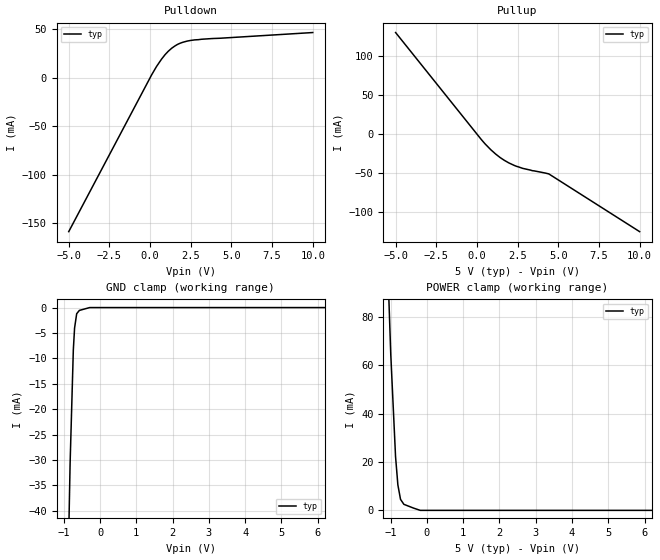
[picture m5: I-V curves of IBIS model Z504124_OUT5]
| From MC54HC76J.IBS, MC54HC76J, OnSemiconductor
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| (C) COPYRIGHT 1993-2000
| MENTOR GRAPHICS CORPORATION
| ICX STANDARD LIBRARY, ICX PROJECT MODELING,
| ICX CUSTOM MODELING, ICX VENDOR MODEL
| ALL RIGHTS RESERVED.
| THE FOLLOWING ARE TRADEMARKS OR SERVICE MARKS OF
| MENTOR GRAPHICS CORPORATION:ICX (R), ICX STANDARD
| LIBRARY(R), ICX PROJECT MODELING(R), ICX CUSTOM
| MODELING(R), qualityIBIS(TM), MODELVIEWER(TM),
| AND MODELEDITOR(TM)
| ALL COPIES OF SOFTWARE, INCLUDING BUT NOT LIMITED TO
| ANY MODIFICATIONS, ENHANCEMENTS OR DERIVATIVE WORKS,
| MUST CONTAIN ALL MENTOR GRAPHICS CORPORATION'S
| NOTICES AND LEGENDS, INCLUDING THOSE EMBEDDED IN
| SOFTWARE AND THOSE AFFIXED TO SOFTWARE MEDIUM
| AND CONTAINER, AS RECEIVED FROM MENTOR GRAPHICS
| CORPORATION.
| Model Application Version 1.89 2/18/99.
[Model] Z504124_OUT5
Model_type Output
Vref=0.000V
Rref=500.0Mohms
Cref=50.00pF
Vmeas=2.500V
C_comp 8.000pF NA NA
| variable typ   min   max
[Voltage Range] 5.000V NA NA
[POWER Clamp Reference] 5.000V NA NA
[Pullup Reference] 5.000V NA NA
[Pulldown Reference] 0.000V NA NA
[GND Clamp Reference] 0.000V NA NA
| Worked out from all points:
|   slope of the pulldown table from 0 to 0.75 V, typ, clamps not added: 37.1 ohm
|   slope of the pullup table from 0 to 0.75 V, typ, clamps not added: 41.9 ohm
|   GND clamp passes 1 mA (typ) near -0.62 V on its own axis
[GND Clamp]
-5V       -1.563A    NA         NA
-825.7mV  -30.71mA   NA         NA
-736.8mV  -8.328mA   NA         NA
-702.6mV  -4.043mA   NA         NA
-644.4mV  -1.208mA   NA         NA
-570.5mV  -560.8uA   NA         NA
-285.3mV  0A         NA         NA
10V       0A         NA         NA
[Pulldown]
-5V       -158.5mA   NA         NA
101.8mV   3.285mA    NA         NA
703.9mV   19.3mA     NA         NA
918.2mV   23.86mA    NA         NA
1.33V     30.58mA    NA         NA
1.846V    35.71mA    NA         NA
2.758V    39.2mA     NA         NA
10V       46.75mA    NA         NA
[Pullup]
-5V       129.5mA    NA         NA
254mV     -7.317mA   NA         NA
857mV     -20.88mA   NA         NA
1.153V    -26.35mA   NA         NA
1.682V    -34.34mA   NA         NA
2.451V    -42.17mA   NA         NA
3.405V    -47.64mA   NA         NA
4.419V    -51.79mA   NA         NA
10V       -125.8mA   NA         NA
[POWER Clamp]
-5V       1.984A     NA         NA
-1.181V   145.5mA    NA         NA
-997mV    64.58mA    NA         NA
-865mV    22.23mA    NA         NA
-801mV    10.53mA    NA         NA
-728mV    4.551mA    NA         NA
-635mV    2.493mA    NA         NA
-366mV    919.1uA    NA         NA
-183mV    0A         NA         NA
10V       0A         NA         NA
[Ramp]
| variable typ min max
dV/dt_r 2.799/2.676n NA NA
dV/dt_f 2.799/2.491n NA NA
R_load = 500.0Ohms
